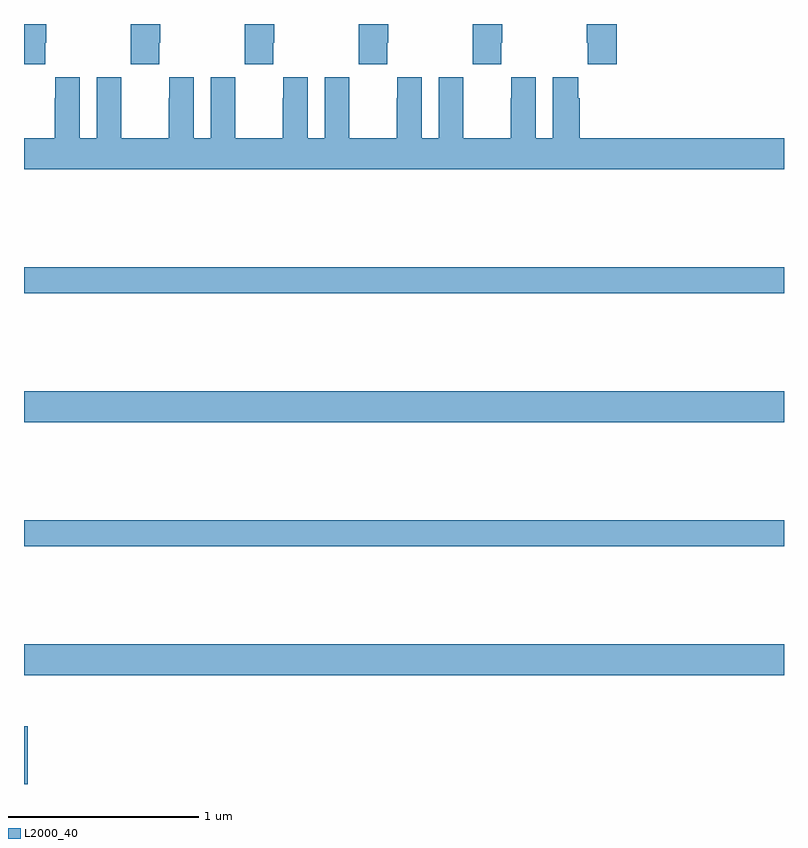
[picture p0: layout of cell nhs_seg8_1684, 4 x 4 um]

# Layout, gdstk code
import gdstk
lib = gdstk.Library(unit=1e-6, precision=1e-09)
def R(c, l, rs):  # rectangles x0, y0, x1, y1
    for r in rs: c.add(gdstk.rectangle(r[:2], r[2:], *l))
def P(c, l, *ps):  # polygons
    for p in ps: c.add(gdstk.Polygon(p, *l))
L2000_40 = (2000, 40)

nhs_seg8_1684 = lib.new_cell('nhs_seg8_1684')
R(nhs_seg8_1684, L2000_40, [(217,1143.9,217.019,1144.204), (217,1144.472,221,1144.636), (217,1145.152,221,1145.288), (217,1145.804,221,1145.968), (217,1146.484,221,1146.62)])
P(nhs_seg8_1684, L2000_40, [(219.513,1147.801),(219.516,1147.801),(219.516,1147.9),(219.361,1147.9),(219.361,1147.801),(219.363,1147.801),(219.363,1147.689),(219.513,1147.689)],
  [(218.913,1147.801),(218.916,1147.801),(218.916,1147.9),(218.761,1147.9),(218.761,1147.801),(218.763,1147.801),(218.763,1147.689),(218.913,1147.689)],
  [(218.313,1147.801),(218.316,1147.801),(218.316,1147.9),(218.161,1147.9),(218.161,1147.801),(218.163,1147.801),(218.163,1147.689),(218.313,1147.689)],
  [(217.713,1147.801),(217.716,1147.801),(217.716,1147.9),(217.561,1147.9),(217.561,1147.801),(217.563,1147.801),(217.563,1147.689),(217.713,1147.689)],
  [(217.113,1147.801),(217.116,1147.801),(217.116,1147.9),(217,1147.9),(217,1147.689),(217.113,1147.689)],
  [(220.121,1147.9),(219.961,1147.9),(219.961,1147.801),(219.967,1147.801),(219.967,1147.689),(220.121,1147.689)],
  [(221,1147.3),(219.926,1147.3),(219.926,1147.508),(219.916,1147.508),(219.916,1147.621),(219.782,1147.621),(219.782,1147.3),(219.694,1147.3),(219.694,1147.621),(219.564,1147.621),(219.564,1147.508),(219.563,1147.508),(219.563,1147.3),(219.313,1147.3),(219.313,1147.508),(219.312,1147.508),(219.312,1147.621),(219.182,1147.621),(219.182,1147.3),(219.094,1147.3),(219.094,1147.621),(218.964,1147.621),(218.964,1147.508),(218.963,1147.508),(218.963,1147.3),(218.713,1147.3),(218.713,1147.508),(218.712,1147.508),(218.712,1147.621),(218.582,1147.621),(218.582,1147.3),(218.494,1147.3),(218.494,1147.621),(218.364,1147.621),(218.364,1147.508),(218.363,1147.508),(218.363,1147.3),(218.113,1147.3),(218.113,1147.508),(218.112,1147.508),(218.112,1147.621),(217.982,1147.621),(217.982,1147.3),(217.894,1147.3),(217.894,1147.621),(217.764,1147.621),(217.764,1147.508),(217.763,1147.508),(217.763,1147.3),(217.513,1147.3),(217.513,1147.508),(217.512,1147.508),(217.512,1147.621),(217.382,1147.621),(217.382,1147.3),(217.294,1147.3),(217.294,1147.621),(217.164,1147.621),(217.164,1147.508),(217.163,1147.508),(217.163,1147.3),(217,1147.3),(217,1147.136),(221,1147.136)])

lib.write_gds('nhs_seg8_1684.gds')
